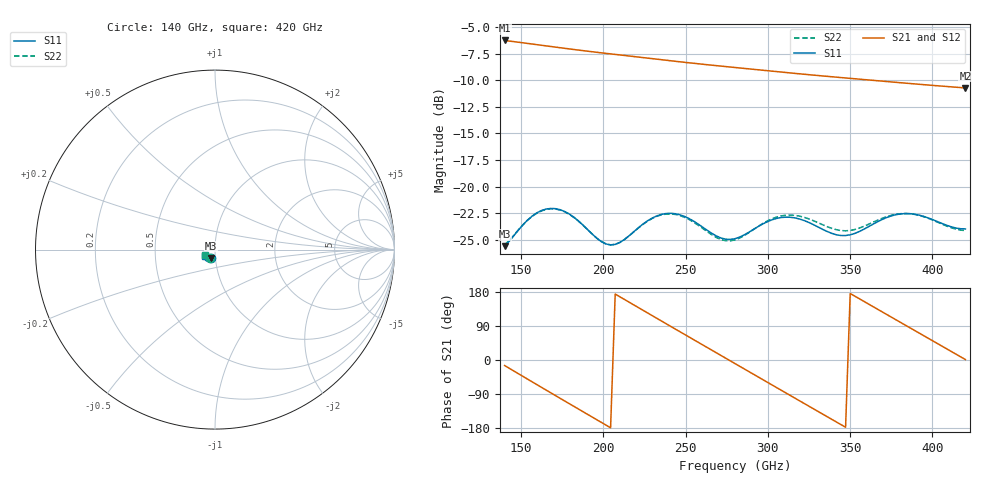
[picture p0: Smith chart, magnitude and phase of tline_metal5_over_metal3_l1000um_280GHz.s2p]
#  GHZ S DB R 50
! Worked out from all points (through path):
!   101 points, 140 GHz to 420 GHz, reference 50 ohm
!   highest |S21| = -6.26 dB at 140 GHz (marker M1); lowest = -10.7 dB at 420 GHz (marker M2)
!   group delay of S21, straight-line fit = 6.98 ps
!   lowest |S11| = -25.6 dB at 140 GHz (marker M3), VSWR 1.11, Z = 47.4 - j4.43 ohm
!   |S11| at or under -10 dB: start of sweep to end of sweep
!   |S22| runs from -25.5 to -22.1 dB; largest |S21 - S12| = 5.7e-13
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140  -25.60 -117.4  -6.26 -14.6  -6.26 -14.6  -25.47 -119.0
154  -23.14 -116.1  -6.54 -50.6  -6.54 -50.6  -23.16 -117.0
165.2  -22.11 -126.1  -6.77 -79.3  -6.77 -79.3  -22.15 -126.8
176.4  -22.34 -137.5  -7.00 -107.9  -7.00 -107.9  -22.36 -137.9
187.6  -23.62 -144.6  -7.22 -136.3  -7.22 -136.3  -23.63 -144.9
198.8  -25.17 -141.7  -7.43 -164.7  -7.43 -164.7  -25.17 -142.2
210  -25.26 -131.5  -7.63 166.9  -7.63 166.9  -25.25 -132.2
224  -23.54 -128.7  -7.87 131.5  -7.87 131.5  -23.56 -129.5
235.2  -22.62 -135.3  -8.07 103.2  -8.07 103.2  -22.66 -136.1
246.4  -22.65 -143.7  -8.27 75.0  -8.27 75.0  -22.72 -144.5
260.4  -23.82 -149.6  -8.50 39.8  -8.50 39.8  -23.94 -150.2
280  -24.90 -140.7  -8.80 -9.4  -8.80 -9.4  -25.01 -140.3
294  -23.77 -136.9  -9.02 -44.5  -9.02 -44.5  -23.75 -136.2
305.2  -23.00 -140.8  -9.19 -72.6  -9.19 -72.6  -22.87 -140.1
316.4  -22.94 -146.7  -9.36 -100.6  -9.36 -100.6  -22.70 -146.3
327.6  -23.57 -150.6  -9.52 -128.6  -9.52 -128.6  -23.20 -150.7
338.8  -24.40 -149.0  -9.68 -156.5  -9.68 -156.5  -23.93 -150.5
350  -24.53 -143.1  -9.83 175.5  -9.83 175.5  -24.12 -146.2
375.2  -22.75 -142.4  -10.17 112.6  -10.17 112.6  -22.69 -146.4
394.8  -22.81 -151.1  -10.42 63.9  -10.42 63.9  -22.84 -154.8
408.8  -23.65 -152.0  -10.59 29.1  -10.59 29.1  -23.72 -156.0
420  -23.98 -148.0  -10.73 1.2  -10.73 1.2  -24.13 -152.4
